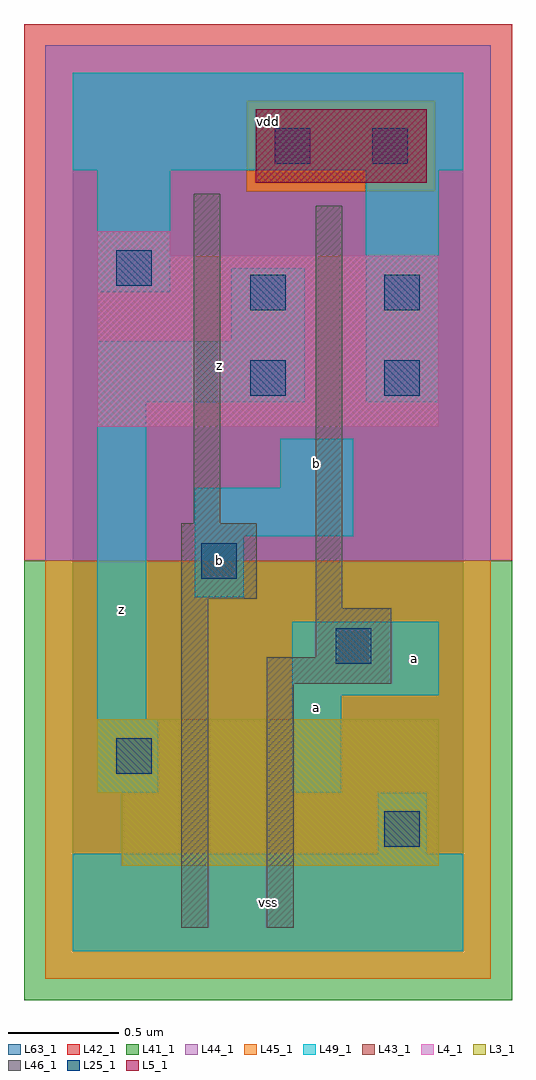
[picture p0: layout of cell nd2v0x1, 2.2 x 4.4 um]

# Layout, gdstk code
import gdstk
lib = gdstk.Library(unit=1e-6, precision=1e-09)
def R(c, l, rs):  # rectangles x0, y0, x1, y1
    for r in rs: c.add(gdstk.rectangle(r[:2], r[2:], *l))
L3_1 = (3, 1)
L4_1 = (4, 1)
L5_1 = (5, 1)
L25_1 = (25, 1)
L41_1 = (41, 1)
L42_1 = (42, 1)
L43_1 = (43, 1)
L44_1 = (44, 1)
L45_1 = (45, 1)
L46_1 = (46, 1)
L49_1 = (49, 1)
L63_1 = (63, 1)

nd2v0x1 = lib.new_cell('nd2v0x1')
R(nd2v0x1, L3_1, [(0.22,0.385,1.65,0.715), (0.11,0.715,1.65,1.045)])
R(nd2v0x1, L4_1, [(0.11,2.365,1.65,3.135), (0.11,3.135,0.44,3.245)])
R(nd2v0x1, L5_1, [(0.825,3.465,1.595,3.795)])
R(nd2v0x1, L25_1, [(1.405,0.47,1.565,0.63), (0.195,0.8,0.355,0.96), (1.185,1.295,1.345,1.455), (0.58,1.68,0.74,1.84), (0.8,2.505,0.96,2.665), (1.405,2.505,1.565,2.665), (0.8,2.89,0.96,3.05), (1.405,2.89,1.565,3.05), (0.195,3,0.355,3.16), (0.91,3.55,1.07,3.71), (1.35,3.55,1.51,3.71)])
R(nd2v0x1, L41_1, [(-0.22,-0.22,1.98,1.76)])
R(nd2v0x1, L42_1, [(-0.22,1.76,1.98,4.18)])
R(nd2v0x1, L43_1, [(0.22,0.385,1.65,0.715), (0.11,0.715,1.65,1.045), (0.11,2.365,1.65,3.135), (0.11,3.135,0.44,3.245), (0.825,3.465,1.595,3.795)])
R(nd2v0x1, L44_1, [(-0.125,1.76,1.885,3.425), (-0.125,3.425,0.785,3.835), (1.635,3.425,1.885,3.835), (-0.125,3.835,1.885,4.085)])
R(nd2v0x1, L45_1, [(-0.125,-0.125,1.885,1.76), (0.785,3.425,1.635,3.835)])
R(nd2v0x1, L46_1, [(0.49,0.105,0.61,1.59), (0.875,0.105,0.995,1.205), (0.875,1.205,1.435,1.325), (1.095,1.325,1.435,1.545), (1.095,1.545,1.215,3.36), (0.49,1.59,0.83,1.93), (0.545,1.93,0.665,3.415)])
R(nd2v0x1, L49_1, [(0,0,1.76,0.44), (1.375,0.44,1.595,0.715), (0.11,0.715,0.385,1.045), (0.99,0.715,1.21,1.155), (0.11,1.045,0.33,2.475), (0.99,1.155,1.65,1.485), (0.55,1.595,0.77,1.87), (0.55,1.87,1.265,2.09), (0.935,2.09,1.265,2.31), (0.11,2.475,1.045,2.75), (1.32,2.475,1.65,3.52), (0.715,2.75,1.045,3.08), (0.11,2.97,0.44,3.52), (0,3.52,1.76,3.96)])
R(nd2v0x1, L63_1, [(0,0,1.76,3.96)])
nd2v0x1.add(gdstk.Label('z', (0.22,1.54), layer=49, texttype=1))
nd2v0x1.add(gdstk.Label('b', (0.66,1.76), layer=49, texttype=1))
nd2v0x1.add(gdstk.Label('z', (0.66,2.64), layer=49, texttype=1))
nd2v0x1.add(gdstk.Label('vss', (0.88,0.22), layer=49, texttype=1))
nd2v0x1.add(gdstk.Label('a', (1.1,1.1), layer=49, texttype=1))
nd2v0x1.add(gdstk.Label('b', (1.1,2.2), layer=49, texttype=1))
nd2v0x1.add(gdstk.Label('vdd', (0.88,3.74), layer=49, texttype=1))
nd2v0x1.add(gdstk.Label('a', (1.54,1.32), layer=49, texttype=1))

lib.write_gds('nd2v0x1.gds')
